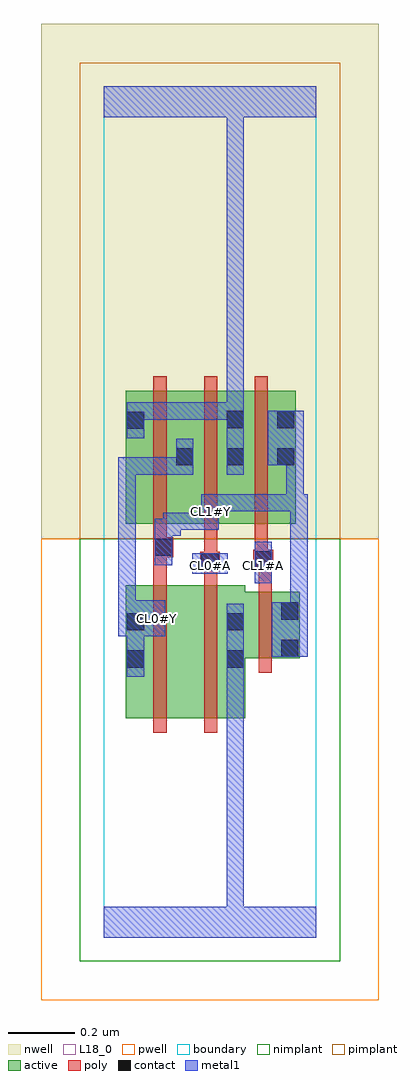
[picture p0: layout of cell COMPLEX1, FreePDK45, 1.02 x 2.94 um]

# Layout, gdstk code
import gdstk
lib = gdstk.Library(unit=1e-6, precision=1e-09)
def R(c, l, rs):  # rectangles x0, y0, x1, y1
    for r in rs: c.add(gdstk.rectangle(r[:2], r[2:], *l))
def A(c, l, x, y, w, h, nx, ny, dx, dy):  # array of equal rectangles
    R(c, l, [(x+i*dx, y+j*dy, x+i*dx+w, y+j*dy+h) for i in range(nx) for j in range(ny)])
active = (1, 0)
pwell = (2, 0)
nwell = (3, 0)
nimplant = (4, 0)
pimplant = (5, 0)
poly = (9, 0)
contact = (10, 0)
metal1 = (11, 0)
L18_0 = (18, 0)
boundary = (235, 0)

complex1 = lib.new_cell('COMPLEX1')
A(complex1, active, 0.214, 1.244, 0.06, 0.4, 3, 1, 0.152, 0)
R(complex1, active, [(0.066,0.66,0.246,1.06), (0.066,0.66,0.126,1.06), (0.246,0.66,0.426,1.06), (0.366,0.808,0.426,1.04), (0.366,0.84,0.59,1.04), (0.53,0.84,0.59,1.04), (0.066,1.244,0.126,1.644), (0.066,1.244,0.274,1.644), (0.214,1.244,0.426,1.644), (0.366,1.244,0.578,1.644)])
R(complex1, pwell, [(-0.188,-0.188,0.828,1.2)])
R(complex1, nwell, [(-0.188,1.2,0.828,2.748)])
R(complex1, nimplant, [(-0.072,-0.072,0.712,1.2)])
R(complex1, pimplant, [(-0.072,1.2,0.712,2.632)])
A(complex1, poly, 0.15, 1.2, 0.04, 0.488, 3, 1, 0.152, 0)
R(complex1, poly, [(0.15,0.616,0.19,1.104), (0.302,0.616,0.342,1.104), (0.466,0.796,0.506,1.084), (0.466,1.044,0.506,1.146), (0.15,1.064,0.19,1.184), (0.302,1.064,0.342,1.14), (0.29,1.1,0.35,1.16), (0.45,1.106,0.51,1.166), (0.302,1.12,0.342,1.16), (0.302,1.12,0.342,1.16), (0.302,1.12,0.342,1.24), (0.454,1.126,0.494,1.24), (0.454,1.126,0.494,1.166), (0.454,1.126,0.494,1.166), (0.15,1.144,0.19,1.184), (0.15,1.144,0.19,1.184), (0.15,1.144,0.21,1.204), (0.15,1.164,0.19,1.24)])
A(complex1, contact, 0.218, 1.42, 0.052, 0.052, 3, 1, 0.152, 0)
R(complex1, contact, [(0.07,0.812,0.122,0.864), (0.37,0.812,0.422,0.864), (0.534,0.844,0.586,0.896), (0.07,0.924,0.122,0.976), (0.37,0.924,0.422,0.976), (0.534,0.956,0.586,1.008), (0.294,1.104,0.346,1.156), (0.454,1.11,0.506,1.162), (0.154,1.148,0.206,1.2), (0.07,1.53,0.122,1.582), (0.37,1.532,0.422,1.584), (0.522,1.532,0.574,1.584)])
R(complex1, metal1, [(0,0,0.64,0.092), (0.37,0.04,0.422,0.092), (0.37,0.04,0.422,0.092), (0.37,0.04,0.422,0.092), (0.37,0.04,0.422,0.092), (0.37,0.04,0.422,0.092), (0.37,0.04,0.422,0.092), (0.37,0.04,0.422,0.092), (0.37,0.04,0.422,0.092), (0.37,0.04,0.422,0.092), (0.37,0.04,0.422,0.092), (0.37,0.04,0.422,0.092), (0.37,0.04,0.422,0.092), (0.37,0.04,0.422,0.836), (0.07,0.784,0.122,1.004), (0.37,0.784,0.422,1.004), (0.506,0.844,0.614,1.008), (0.044,0.906,0.186,1.014), (0.07,0.906,0.122,0.958), (0.562,0.956,0.614,1.334), (0.562,0.956,0.614,1.008), (0.562,0.956,0.614,1.008), (0.044,0.962,0.096,1.014), (0.044,0.962,0.096,1.014), (0.044,0.962,0.096,1.444), (0.454,1.066,0.506,1.19), (0.266,1.094,0.374,1.156), (0.154,1.12,0.206,1.26), (0.154,1.208,0.232,1.26), (0.18,1.208,0.232,1.278), (0.18,1.226,0.346,1.278), (0.294,1.226,0.346,1.278), (0.294,1.226,0.346,1.278), (0.294,1.226,0.346,1.334), (0.294,1.282,0.602,1.334), (0.55,1.282,0.602,1.472), (0.55,1.282,0.602,1.334), (0.55,1.282,0.602,1.334), (0.55,1.282,0.614,1.334), (0.044,1.392,0.096,1.444), (0.044,1.392,0.096,1.444), (0.044,1.392,0.096,1.444), (0.044,1.392,0.27,1.444), (0.218,1.392,0.27,1.5), (0.37,1.392,0.422,1.612), (0.494,1.42,0.602,1.584), (0.07,1.502,0.122,1.61), (0.07,1.558,0.122,1.61), (0.07,1.558,0.122,1.61), (0.07,1.558,0.236,1.61), (0.184,1.558,0.236,1.61), (0.184,1.558,0.396,1.61), (0.344,1.558,0.396,1.61), (0.344,1.558,0.422,1.61), (0.37,1.56,0.422,1.612), (0.37,1.56,0.422,1.612), (0.37,1.56,0.422,1.612), (0.37,1.56,0.422,1.612), (0.37,1.56,0.422,2.52), (0,2.468,0.64,2.56), (0.37,2.468,0.422,2.52), (0.37,2.468,0.422,2.52), (0.37,2.468,0.422,2.52), (0.37,2.468,0.422,2.52), (0.37,2.468,0.422,2.52), (0.37,2.468,0.422,2.52), (0.37,2.468,0.422,2.52), (0.37,2.468,0.422,2.52), (0.37,2.468,0.422,2.52), (0.37,2.468,0.422,2.52), (0.37,2.468,0.422,2.52), (0.37,2.468,0.422,2.52)])
R(complex1, L18_0, [(0,0,0.64,0.092), (0.37,0.04,0.422,0.092), (0.37,0.04,0.422,0.092), (0.37,0.04,0.422,0.092), (0.37,0.04,0.422,0.092), (0.37,0.04,0.422,0.092), (0.37,0.04,0.422,0.092), (0.37,0.04,0.422,0.092), (0.37,0.04,0.422,0.092), (0.37,0.04,0.422,0.092), (0.37,0.04,0.422,0.092), (0.37,0.04,0.422,0.092), (0.37,0.04,0.422,0.092), (0.37,0.04,0.422,0.836), (0.07,0.784,0.122,1.004), (0.37,0.784,0.422,1.004), (0.506,0.844,0.614,1.008), (0.044,0.906,0.186,1.014), (0.07,0.906,0.122,0.958), (0.134,0.934,0.186,0.986), (0.562,0.956,0.614,1.008), (0.562,0.956,0.614,1.008), (0.562,0.956,0.614,1.334), (0.044,0.962,0.096,1.014), (0.044,0.962,0.096,1.014), (0.044,0.962,0.096,1.444), (0.454,1.066,0.506,1.19), (0.266,1.094,0.374,1.156), (0.294,1.094,0.346,1.146), (0.454,1.094,0.506,1.146), (0.154,1.12,0.206,1.26), (0.154,1.208,0.232,1.26), (0.18,1.208,0.232,1.278), (0.18,1.226,0.346,1.278), (0.294,1.226,0.346,1.278), (0.294,1.226,0.346,1.278), (0.294,1.226,0.346,1.334), (0.294,1.254,0.346,1.306), (0.294,1.282,0.602,1.334), (0.55,1.282,0.602,1.334), (0.55,1.282,0.602,1.334), (0.55,1.282,0.614,1.334), (0.55,1.282,0.602,1.472), (0.044,1.392,0.096,1.444), (0.044,1.392,0.096,1.444), (0.044,1.392,0.096,1.444), (0.044,1.392,0.27,1.444), (0.218,1.392,0.27,1.5), (0.37,1.392,0.422,1.612), (0.494,1.42,0.602,1.584), (0.07,1.502,0.122,1.61), (0.07,1.558,0.122,1.61), (0.07,1.558,0.122,1.61), (0.07,1.558,0.236,1.61), (0.184,1.558,0.236,1.61), (0.184,1.558,0.396,1.61), (0.344,1.558,0.396,1.61), (0.344,1.558,0.422,1.61), (0.37,1.56,0.422,1.612), (0.37,1.56,0.422,1.612), (0.37,1.56,0.422,1.612), (0.37,1.56,0.422,1.612), (0.37,1.56,0.422,2.52), (0,2.468,0.64,2.56), (0.37,2.468,0.422,2.52), (0.37,2.468,0.422,2.52), (0.37,2.468,0.422,2.52), (0.37,2.468,0.422,2.52), (0.37,2.468,0.422,2.52), (0.37,2.468,0.422,2.52), (0.37,2.468,0.422,2.52), (0.37,2.468,0.422,2.52), (0.37,2.468,0.422,2.52), (0.37,2.468,0.422,2.52), (0.37,2.468,0.422,2.52), (0.37,2.468,0.422,2.52)])
R(complex1, boundary, [(0,0,0.64,2.56)])
complex1.add(gdstk.Label('CL0#A', (0.32,1.12), layer=11, texttype=0))
complex1.add(gdstk.Label('CL0#Y', (0.16,0.96), layer=11, texttype=0))
complex1.add(gdstk.Label('CL1#A', (0.48,1.12), layer=11, texttype=0))
complex1.add(gdstk.Label('CL1#Y', (0.32,1.28), layer=11, texttype=0))

lib.write_gds('COMPLEX1.gds')
